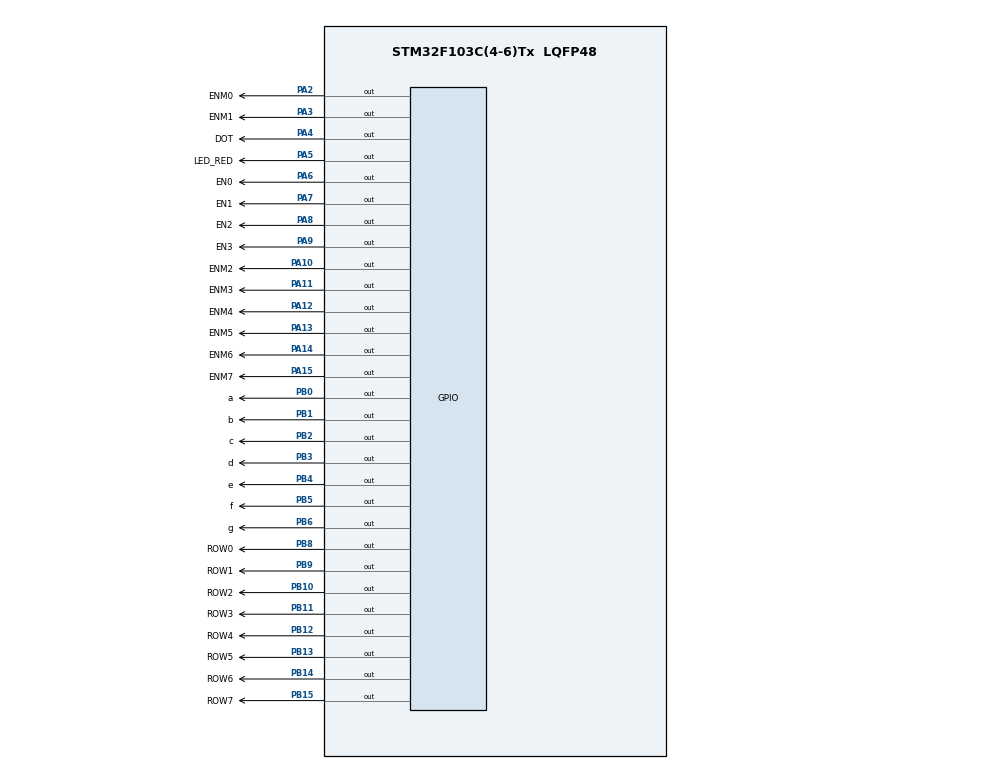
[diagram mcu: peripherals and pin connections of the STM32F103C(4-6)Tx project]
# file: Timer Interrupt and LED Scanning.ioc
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Mcu.Family=STM32F1
Mcu.Name=STM32F103C(4-6)Tx
Mcu.Package=LQFP48
NVIC.PriorityGroup=NVIC_PRIORITYGROUP_4
NVIC.TIM2_IRQn=true\:0\:0\:false\:false\:true\:true\:true
PA10.GPIO_Label=ENM2
PA10.Signal=GPIO_Output
PA11.GPIO_Label=ENM3
PA11.Signal=GPIO_Output
PA12.GPIO_Label=ENM4
PA12.Signal=GPIO_Output
PA13.GPIO_Label=ENM5
PA13.Signal=GPIO_Output
PA14.GPIO_Label=ENM6
PA14.Signal=GPIO_Output
PA15.GPIO_Label=ENM7
PA15.Signal=GPIO_Output
PA2.GPIO_Label=ENM0
PA2.Signal=GPIO_Output
PA3.GPIO_Label=ENM1
PA3.Signal=GPIO_Output
PA4.GPIO_Label=DOT
PA4.Signal=GPIO_Output
PA5.GPIO_Label=LED_RED
PA5.Signal=GPIO_Output
PA6.GPIO_Label=EN0
PA6.Signal=GPIO_Output
PA7.GPIO_Label=EN1
PA7.Signal=GPIO_Output
PA8.GPIO_Label=EN2
PA8.Signal=GPIO_Output
PA9.GPIO_Label=EN3
PA9.Signal=GPIO_Output
PB0.GPIO_Label=a
PB0.Signal=GPIO_Output
PB1.GPIO_Label=b
PB1.Signal=GPIO_Output
PB10.GPIO_Label=ROW2
PB10.Signal=GPIO_Output
PB11.GPIO_Label=ROW3
PB11.Signal=GPIO_Output
PB12.GPIO_Label=ROW4
PB12.Signal=GPIO_Output
PB13.GPIO_Label=ROW5
PB13.Signal=GPIO_Output
PB14.GPIO_Label=ROW6
PB14.Signal=GPIO_Output
PB15.GPIO_Label=ROW7
PB15.Signal=GPIO_Output
PB2.GPIO_Label=c
PB2.Signal=GPIO_Output
PB3.GPIO_Label=d
PB3.Signal=GPIO_Output
PB4.GPIO_Label=e
PB4.Signal=GPIO_Output
PB5.GPIO_Label=f
PB5.Signal=GPIO_Output
PB6.GPIO_Label=g
PB6.Signal=GPIO_Output
PB8.GPIO_Label=ROW0
PB8.Signal=GPIO_Output
PB9.GPIO_Label=ROW1
PB9.Signal=GPIO_Output
ProjectManager.HeapSize=0x200
ProjectManager.StackSize=0x400
ProjectManager.TargetToolchain=STM32CubeIDE
RCC.APB1Freq_Value=8000000
RCC.APB2Freq_Value=8000000
TIM2.Period=9
TIM2.Prescaler=7999
VP_SYS_VS_ND.Mode=No_Debug
VP_TIM2_VS_ClockSourceINT.Mode=Internal
board=custom

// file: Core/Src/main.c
/* USER CODE BEGIN Header */
/**
  ******************************************************************************
  * @file           : main.c
  * @brief          : Main program body
  ******************************************************************************
  * @attention
  *
  * <h2><center>&copy; Copyright (c) 2023 STMicroelectronics.
  * All rights reserved.</center></h2>
  *
  * This software component is licensed by ST under BSD 3-Clause license,
  * the "License"; You may not use this file except in compliance with the
  * License. You may obtain a copy of the License at:
  *                        opensource.org/licenses/BSD-3-Clause
  *
  ******************************************************************************
  */
/* USER CODE END Header */
#include "main.h"

/* USER CODE BEGIN Includes */
#include "software_timer.h"
/* USER CODE END Includes */

TIM_HandleTypeDef htim2;

void SystemClock_Config(void);
static void MX_GPIO_Init(void);
static void MX_TIM2_Init(void);

/* USER CODE BEGIN 0 */

int led_buffer[4] = {1, 2, 3, 4};
int hour = 15, minute = 8, second = 50;
const int MAX_LED = 4;
int index_led = 0;

void display7SEG(int num) {
	HAL_GPIO_WritePin(a_GPIO_Port, a_Pin, GPIO_PIN_SET);
	HAL_GPIO_WritePin(b_GPIO_Port, b_Pin, GPIO_PIN_SET);
	HAL_GPIO_WritePin(c_GPIO_Port, c_Pin, GPIO_PIN_SET);
	HAL_GPIO_WritePin(d_GPIO_Port, d_Pin, GPIO_PIN_SET);
	HAL_GPIO_WritePin(e_GPIO_Port, e_Pin, GPIO_PIN_SET);
	HAL_GPIO_WritePin(f_GPIO_Port, f_Pin, GPIO_PIN_SET);
	HAL_GPIO_WritePin(g_GPIO_Port, g_Pin, GPIO_PIN_SET);

	switch(num) {
		case 0:
		HAL_GPIO_WritePin(a_GPIO_Port, a_Pin, GPIO_PIN_RESET);
		HAL_GPIO_WritePin(b_GPIO_Port, b_Pin, GPIO_PIN_RESET);
		HAL_GPIO_WritePin(c_GPIO_Port, c_Pin, GPIO_PIN_RESET);
		HAL_GPIO_WritePin(d_GPIO_Port, d_Pin, GPIO_PIN_RESET);
		HAL_GPIO_WritePin(e_GPIO_Port, e_Pin, GPIO_PIN_RESET);
		HAL_GPIO_WritePin(f_GPIO_Port, f_Pin, GPIO_PIN_RESET);
		HAL_GPIO_WritePin(g_GPIO_Port, g_Pin, GPIO_PIN_SET);
		break;
		case 1:
		HAL_GPIO_WritePin(a_GPIO_Port, a_Pin, GPIO_PIN_SET);
		HAL_GPIO_WritePin(b_GPIO_Port, b_Pin, GPIO_PIN_RESET);
		HAL_GPIO_WritePin(c_GPIO_Port, c_Pin, GPIO_PIN_RESET);
		HAL_GPIO_WritePin(d_GPIO_Port, d_Pin, GPIO_PIN_SET);
		HAL_GPIO_WritePin(e_GPIO_Port, e_Pin, GPIO_PIN_SET);
		HAL_GPIO_WritePin(f_GPIO_Port, f_Pin, GPIO_PIN_SET);
		HAL_GPIO_WritePin(g_GPIO_Port, g_Pin, GPIO_PIN_SET);
		// (Add the rest of the pins needed to display '1')
		break;
		case 2:
		HAL_GPIO_WritePin(a_GPIO_Port, a_Pin, GPIO_PIN_RESET);
		HAL_GPIO_WritePin(b_GPIO_Port, b_Pin, GPIO_PIN_RESET);
		HAL_GPIO_WritePin(c_GPIO_Port, c_Pin, GPIO_PIN_SET);
		HAL_GPIO_WritePin(d_GPIO_Port, d_Pin, GPIO_PIN_RESET);
		HAL_GPIO_WritePin(e_GPIO_Port, e_Pin, GPIO_PIN_RESET);
		HAL_GPIO_WritePin(f_GPIO_Port, f_Pin, GPIO_PIN_SET);
		HAL_GPIO_WritePin(g_GPIO_Port, g_Pin, GPIO_PIN_RESET);
		break;
		case 3:
		HAL_GPIO_WritePin(a_GPIO_Port, a_Pin, GPIO_PIN_RESET);
		HAL_GPIO_WritePin(b_GPIO_Port, b_Pin, GPIO_PIN_RESET);
		HAL_GPIO_WritePin(c_GPIO_Port, c_Pin, GPIO_PIN_RESET);
		HAL_GPIO_WritePin(d_GPIO_Port, d_Pin, GPIO_PIN_RESET);
		HAL_GPIO_WritePin(e_GPIO_Port, e_Pin, GPIO_PIN_SET);
		HAL_GPIO_WritePin(f_GPIO_Port, f_Pin, GPIO_PIN_SET);
		HAL_GPIO_WritePin(g_GPIO_Port, g_Pin, GPIO_PIN_RESET);
		break;
		case 4:
		HAL_GPIO_WritePin(a_GPIO_Port, a_Pin, GPIO_PIN_SET);
		HAL_GPIO_WritePin(b_GPIO_Port, b_Pin, GPIO_PIN_RESET);
		HAL_GPIO_WritePin(c_GPIO_Port, c_Pin, GPIO_PIN_RESET);
		HAL_GPIO_WritePin(d_GPIO_Port, d_Pin, GPIO_PIN_SET);
		HAL_GPIO_WritePin(e_GPIO_Port, e_Pin, GPIO_PIN_SET);
		HAL_GPIO_WritePin(f_GPIO_Port, f_Pin, GPIO_PIN_RESET);
		HAL_GPIO_WritePin(g_GPIO_Port, g_Pin, GPIO_PIN_RESET);
		break;
		case 5:
		HAL_GPIO_WritePin(a_GPIO_Port, a_Pin, GPIO_PIN_RESET);
		HAL_GPIO_WritePin(b_GPIO_Port, b_Pin, GPIO_PIN_SET);
		HAL_GPIO_WritePin(c_GPIO_Port, c_Pin, GPIO_PIN_RESET);
		HAL_GPIO_WritePin(d_GPIO_Port, d_Pin, GPIO_PIN_RESET);
		HAL_GPIO_WritePin(e_GPIO_Port, e_Pin, GPIO_PIN_SET);
		HAL_GPIO_WritePin(f_GPIO_Port, f_Pin, GPIO_PIN_RESET);
		HAL_GPIO_WritePin(g_GPIO_Port, g_Pin, GPIO_PIN_RESET);
		break;
		case 6:
		HAL_GPIO_WritePin(a_GPIO_Port, a_Pin, GPIO_PIN_RESET);
		HAL_GPIO_WritePin(b_GPIO_Port, b_Pin, GPIO_PIN_SET);
		HAL_GPIO_WritePin(c_GPIO_Port, c_Pin, GPIO_PIN_RESET);
		HAL_GPIO_WritePin(d_GPIO_Port, d_Pin, GPIO_PIN_RESET);
		HAL_GPIO_WritePin(e_GPIO_Port, e_Pin, GPIO_PIN_RESET);
		HAL_GPIO_WritePin(f_GPIO_Port, f_Pin, GPIO_PIN_RESET);
		HAL_GPIO_WritePin(g_GPIO_Port, g_Pin, GPIO_PIN_RESET);
		break;
		case 7:
		HAL_GPIO_WritePin(a_GPIO_Port, a_Pin, GPIO_PIN_RESET);
		HAL_GPIO_WritePin(b_GPIO_Port, b_Pin, GPIO_PIN_RESET);
		HAL_GPIO_WritePin(c_GPIO_Port, c_Pin, GPIO_PIN_RESET);
		HAL_GPIO_WritePin(d_GPIO_Port, d_Pin, GPIO_PIN_SET);
		HAL_GPIO_WritePin(e_GPIO_Port, e_Pin, GPIO_PIN_SET);
		HAL_GPIO_WritePin(f_GPIO_Port, f_Pin, GPIO_PIN_SET);
		HAL_GPIO_WritePin(g_GPIO_Port, g_Pin, GPIO_PIN_SET);
		break;
		case 8:
		HAL_GPIO_WritePin(a_GPIO_Port, a_Pin, GPIO_PIN_RESET);
		HAL_GPIO_WritePin(b_GPIO_Port, b_Pin, GPIO_PIN_RESET);
		HAL_GPIO_WritePin(c_GPIO_Port, c_Pin, GPIO_PIN_RESET);
		HAL_GPIO_WritePin(d_GPIO_Port, d_Pin, GPIO_PIN_RESET);
		HAL_GPIO_WritePin(e_GPIO_Port, e_Pin, GPIO_PIN_RESET);
		HAL_GPIO_WritePin(f_GPIO_Port, f_Pin, GPIO_PIN_RESET);
		HAL_GPIO_WritePin(g_GPIO_Port, g_Pin, GPIO_PIN_RESET);
		break;
		case 9:
		HAL_GPIO_WritePin(a_GPIO_Port, a_Pin, GPIO_PIN_RESET);
		HAL_GPIO_WritePin(b_GPIO_Port, b_Pin, GPIO_PIN_RESET);
		HAL_GPIO_WritePin(c_GPIO_Port, c_Pin, GPIO_PIN_RESET);
		HAL_GPIO_WritePin(d_GPIO_Port, d_Pin, GPIO_PIN_RESET);
		HAL_GPIO_WritePin(e_GPIO_Port, e_Pin, GPIO_PIN_SET);
		HAL_GPIO_WritePin(f_GPIO_Port, f_Pin, GPIO_PIN_RESET);
		HAL_GPIO_WritePin(g_GPIO_Port, g_Pin, GPIO_PIN_RESET);
		break;
		default:
		// Handle invalid input by possibly clearing all segments or displaying a predefined error state
		break;
	}
	return;
}
void update7SEG(int index){
	if(index_led>MAX_LED) index_led = (index_led + 1) % MAX_LED;
    switch (index){
        case 0:
            //Display the first 7SEG with led_buffer[0]
    		HAL_GPIO_WritePin(EN0_GPIO_Port, EN0_Pin, GPIO_PIN_RESET);
    		HAL_GPIO_WritePin(EN1_GPIO_Port, EN1_Pin, GPIO_PIN_SET);
    		HAL_GPIO_WritePin(EN2_GPIO_Port, EN2_Pin, GPIO_PIN_SET);
    		HAL_GPIO_WritePin(EN3_GPIO_Port, EN3_Pin, GPIO_PIN_SET);
        	display7SEG(led_buffer[0]);
            break;
        case 1:
            //Display the second 7SEG with led_buffer[1]
    		HAL_GPIO_WritePin(EN0_GPIO_Port, EN0_Pin, GPIO_PIN_SET);
    		HAL_GPIO_WritePin(EN1_GPIO_Port, EN1_Pin, GPIO_PIN_RESET);
    		HAL_GPIO_WritePin(EN2_GPIO_Port, EN2_Pin, GPIO_PIN_SET);
    		HAL_GPIO_WritePin(EN3_GPIO_Port, EN3_Pin, GPIO_PIN_SET);
        	display7SEG(led_buffer[1]);
            break;
        case 2:
            //Display the third 7SEG with led_buffer[2]
    		HAL_GPIO_WritePin(EN0_GPIO_Port, EN0_Pin, GPIO_PIN_SET);
    		HAL_GPIO_WritePin(EN1_GPIO_Port, EN1_Pin, GPIO_PIN_SET);
    		HAL_GPIO_WritePin(EN2_GPIO_Port, EN2_Pin, GPIO_PIN_RESET);
    		HAL_GPIO_WritePin(EN3_GPIO_Port, EN3_Pin, GPIO_PIN_SET);
        	display7SEG(led_buffer[2]);
        	break;
        case 3:
        	display7SEG(led_buffer[3]);
            //Display the forth 7SEG with led_buffer[3]
    		HAL_GPIO_WritePin(EN0_GPIO_Port, EN0_Pin, GPIO_PIN_SET);
    		HAL_GPIO_WritePin(EN1_GPIO_Port, EN1_Pin, GPIO_PIN_SET);
    		HAL_GPIO_WritePin(EN2_GPIO_Port, EN2_Pin, GPIO_PIN_SET);
    		HAL_GPIO_WritePin(EN3_GPIO_Port, EN3_Pin, GPIO_PIN_RESET);
            break;
        default:
            break;
    }
    return;
}

void updateClockBuffer(int hour, int minute, int second){
//    led_buffer[0] = hour/10;
//    led_buffer[1] = hour%10;
//    led_buffer[2] = minute/10;
//    led_buffer[3] = minute%10;
    led_buffer[0] = minute/10;
    led_buffer[1] = minute%10;
    led_buffer[2] = second/10;
    led_buffer[3] = second%10;
}

const int MAX_LED_MATRIX = 8;
int index_led_matrix = 0;
uint8_t matrix_buffer[8] = {0x01, 0x02, 0x03, 0x04, 0x05, 0x06, 0x07, 0x08};
void displayLEDMatrix(uint8_t value) {
	switch(value) {
	case 0x00:
		HAL_GPIO_WritePin(ROW0_GPIO_Port, ROW0_Pin, SET);
		HAL_GPIO_WritePin(ROW1_GPIO_Port, ROW1_Pin, SET);
		HAL_GPIO_WritePin(ROW2_GPIO_Port, ROW2_Pin, SET);
		HAL_GPIO_WritePin(ROW3_GPIO_Port, ROW3_Pin, SET);
		HAL_GPIO_WritePin(ROW4_GPIO_Port, ROW4_Pin, SET);
		HAL_GPIO_WritePin(ROW5_GPIO_Port, ROW5_Pin, SET);
		HAL_GPIO_WritePin(ROW6_GPIO_Port, ROW6_Pin, SET);
		HAL_GPIO_WritePin(ROW7_GPIO_Port, ROW7_Pin, SET);
		break;
	case 0xc0:
		HAL_GPIO_WritePin(ROW0_GPIO_Port, ROW0_Pin, SET);
		HAL_GPIO_WritePin(ROW1_GPIO_Port, ROW1_Pin, SET);
		HAL_GPIO_WritePin(ROW2_GPIO_Port, ROW2_Pin, RESET);
		HAL_GPIO_WritePin(ROW3_GPIO_Port, ROW3_Pin, RESET);
		HAL_GPIO_WritePin(ROW4_GPIO_Port, ROW4_Pin, RESET);
		HAL_GPIO_WritePin(ROW5_GPIO_Port, ROW5_Pin, RESET);
		HAL_GPIO_WritePin(ROW6_GPIO_Port, ROW6_Pin, RESET);
		HAL_GPIO_WritePin(ROW7_GPIO_Port, ROW7_Pin, RESET);
		break;
	case 0x80:
		HAL_GPIO_WritePin(ROW0_GPIO_Port, ROW0_Pin, SET);
		HAL_GPIO_WritePin(ROW1_GPIO_Port, ROW1_Pin, RESET);
		HAL_GPIO_WritePin(ROW2_GPIO_Port, ROW2_Pin, RESET);
		HAL_GPIO_WritePin(ROW3_GPIO_Port, ROW3_Pin, RESET);
		HAL_GPIO_WritePin(ROW4_GPIO_Port, ROW4_Pin, RESET);
		HAL_GPIO_WritePin(ROW5_GPIO_Port, ROW5_Pin, RESET);
		HAL_GPIO_WritePin(ROW6_GPIO_Port, ROW6_Pin, RESET);
		HAL_GPIO_WritePin(ROW7_GPIO_Port, ROW7_Pin, RESET);
		break;
	case 0x33:
		HAL_GPIO_WritePin(ROW0_GPIO_Port, ROW0_Pin, RESET);
		HAL_GPIO_WritePin(ROW1_GPIO_Port, ROW1_Pin, RESET);
		HAL_GPIO_WritePin(ROW2_GPIO_Port, ROW2_Pin, SET);
		HAL_GPIO_WritePin(ROW3_GPIO_Port, ROW3_Pin, SET);
		HAL_GPIO_WritePin(ROW4_GPIO_Port, ROW4_Pin, RESET);
		HAL_GPIO_WritePin(ROW5_GPIO_Port, ROW5_Pin, RESET);
		HAL_GPIO_WritePin(ROW6_GPIO_Port, ROW6_Pin, SET);
		HAL_GPIO_WritePin(ROW7_GPIO_Port, ROW7_Pin, SET);
		break;
	default:
		HAL_GPIO_WritePin(ROW0_GPIO_Port, ROW0_Pin, SET);
		HAL_GPIO_WritePin(ROW1_GPIO_Port, ROW1_Pin, SET);
		HAL_GPIO_WritePin(ROW2_GPIO_Port, ROW2_Pin, SET);
		HAL_GPIO_WritePin(ROW3_GPIO_Port, ROW3_Pin, SET);
		HAL_GPIO_WritePin(ROW4_GPIO_Port, ROW4_Pin, SET);
		HAL_GPIO_WritePin(ROW5_GPIO_Port, ROW5_Pin, SET);
		HAL_GPIO_WritePin(ROW6_GPIO_Port, ROW6_Pin, SET);
		HAL_GPIO_WritePin(ROW7_GPIO_Port, ROW7_Pin, SET);
		break;
	}
}
void updateLEDMatrix(int index) {
	switch(index) {
		case 0:
			HAL_GPIO_WritePin(ENM0_GPIO_Port, ENM0_Pin, RESET);
			HAL_GPIO_WritePin(ENM1_GPIO_Port, ENM1_Pin, SET);
			HAL_GPIO_WritePin(ENM2_GPIO_Port, ENM2_Pin, SET);
			HAL_GPIO_WritePin(ENM3_GPIO_Port, ENM3_Pin, SET);
			HAL_GPIO_WritePin(ENM4_GPIO_Port, ENM4_Pin, SET);
			HAL_GPIO_WritePin(ENM5_GPIO_Port, ENM5_Pin, SET);
			HAL_GPIO_WritePin(ENM6_GPIO_Port, ENM6_Pin, SET);
			HAL_GPIO_WritePin(ENM7_GPIO_Port, ENM7_Pin, SET);

			break;
		case 1:
			HAL_GPIO_WritePin(ENM0_GPIO_Port, ENM0_Pin, SET);
			HAL_GPIO_WritePin(ENM1_GPIO_Port, ENM1_Pin, RESET);
			HAL_GPIO_WritePin(ENM2_GPIO_Port, ENM2_Pin, SET);
			HAL_GPIO_WritePin(ENM3_GPIO_Port, ENM3_Pin, SET);
			HAL_GPIO_WritePin(ENM4_GPIO_Port, ENM4_Pin, SET);
			HAL_GPIO_WritePin(ENM5_GPIO_Port, ENM5_Pin, SET);
			HAL_GPIO_WritePin(ENM6_GPIO_Port, ENM6_Pin, SET);
			HAL_GPIO_WritePin(ENM7_GPIO_Port, ENM7_Pin, SET);

			break;
		case 2:
			HAL_GPIO_WritePin(ENM0_GPIO_Port, ENM0_Pin, SET);
			HAL_GPIO_WritePin(ENM1_GPIO_Port, ENM1_Pin, SET);
			HAL_GPIO_WritePin(ENM2_GPIO_Port, ENM2_Pin, RESET);
			HAL_GPIO_WritePin(ENM3_GPIO_Port, ENM3_Pin, SET);
			HAL_GPIO_WritePin(ENM4_GPIO_Port, ENM4_Pin, SET);
			HAL_GPIO_WritePin(ENM5_GPIO_Port, ENM5_Pin, SET);
			HAL_GPIO_WritePin(ENM6_GPIO_Port, ENM6_Pin, SET);
			HAL_GPIO_WritePin(ENM7_GPIO_Port, ENM7_Pin, SET);
			break;
		case 3:
			HAL_GPIO_WritePin(ENM0_GPIO_Port, ENM0_Pin, SET);
			HAL_GPIO_WritePin(ENM1_GPIO_Port, ENM1_Pin, SET);
			HAL_GPIO_WritePin(ENM2_GPIO_Port, ENM2_Pin, SET);
			HAL_GPIO_WritePin(ENM3_GPIO_Port, ENM3_Pin, RESET);
			HAL_GPIO_WritePin(ENM4_GPIO_Port, ENM4_Pin, SET);
			HAL_GPIO_WritePin(ENM5_GPIO_Port, ENM5_Pin, SET);
			HAL_GPIO_WritePin(ENM6_GPIO_Port, ENM6_Pin, SET);
			HAL_GPIO_WritePin(ENM7_GPIO_Port, ENM7_Pin, SET);
			break;
		case 4:
			HAL_GPIO_WritePin(ENM0_GPIO_Port, ENM0_Pin, SET);
			HAL_GPIO_WritePin(ENM1_GPIO_Port, ENM1_Pin, SET);
			HAL_GPIO_WritePin(ENM2_GPIO_Port, ENM2_Pin, SET);
			HAL_GPIO_WritePin(ENM3_GPIO_Port, ENM3_Pin, SET);
			HAL_GPIO_WritePin(ENM4_GPIO_Port, ENM4_Pin, RESET);
			HAL_GPIO_WritePin(ENM5_GPIO_Port, ENM5_Pin, SET);
			HAL_GPIO_WritePin(ENM6_GPIO_Port, ENM6_Pin, SET);
			HAL_GPIO_WritePin(ENM7_GPIO_Port, ENM7_Pin, SET);
			break;
		case 5:
			HAL_GPIO_WritePin(ENM0_GPIO_Port, ENM0_Pin, SET);
			HAL_GPIO_WritePin(ENM1_GPIO_Port, ENM1_Pin, SET);
			HAL_GPIO_WritePin(ENM2_GPIO_Port, ENM2_Pin, SET);
			HAL_GPIO_WritePin(ENM3_GPIO_Port, ENM3_Pin, SET);
			HAL_GPIO_WritePin(ENM4_GPIO_Port, ENM4_Pin, SET);
			HAL_GPIO_WritePin(ENM5_GPIO_Port, ENM5_Pin, RESET);
			HAL_GPIO_WritePin(ENM6_GPIO_Port, ENM6_Pin, SET);
			HAL_GPIO_WritePin(ENM7_GPIO_Port, ENM7_Pin, SET);
			break;
		case 6:
			HAL_GPIO_WritePin(ENM0_GPIO_Port, ENM0_Pin, SET);
			HAL_GPIO_WritePin(ENM1_GPIO_Port, ENM1_Pin, SET);
			HAL_GPIO_WritePin(ENM2_GPIO_Port, ENM2_Pin, SET);
			HAL_GPIO_WritePin(ENM3_GPIO_Port, ENM3_Pin, SET);
			HAL_GPIO_WritePin(ENM4_GPIO_Port, ENM4_Pin, SET);
			HAL_GPIO_WritePin(ENM5_GPIO_Port, ENM5_Pin, SET);
			HAL_GPIO_WritePin(ENM6_GPIO_Port, ENM6_Pin, RESET);
			HAL_GPIO_WritePin(ENM7_GPIO_Port, ENM7_Pin, SET);
			break;
		case 7:
			HAL_GPIO_WritePin(ENM0_GPIO_Port, ENM0_Pin, SET);
			HAL_GPIO_WritePin(ENM1_GPIO_Port, ENM1_Pin, SET);
			HAL_GPIO_WritePin(ENM2_GPIO_Port, ENM2_Pin, SET);
			HAL_GPIO_WritePin(ENM3_GPIO_Port, ENM3_Pin, SET);
			HAL_GPIO_WritePin(ENM4_GPIO_Port, ENM4_Pin, SET);
			HAL_GPIO_WritePin(ENM5_GPIO_Port, ENM5_Pin, SET);
			HAL_GPIO_WritePin(ENM6_GPIO_Port, ENM6_Pin, SET);
			HAL_GPIO_WritePin(ENM7_GPIO_Port, ENM7_Pin, RESET);
			break;
		default:
			HAL_GPIO_WritePin(ENM0_GPIO_Port, ENM0_Pin, SET);
			HAL_GPIO_WritePin(ENM1_GPIO_Port, ENM1_Pin, SET);
			HAL_GPIO_WritePin(ENM2_GPIO_Port, ENM2_Pin, SET);
			HAL_GPIO_WritePin(ENM3_GPIO_Port, ENM3_Pin, SET);
			HAL_GPIO_WritePin(ENM4_GPIO_Port, ENM4_Pin, SET);
			HAL_GPIO_WritePin(ENM5_GPIO_Port, ENM5_Pin, SET);
			HAL_GPIO_WritePin(ENM6_GPIO_Port, ENM6_Pin, SET);
			HAL_GPIO_WritePin(ENM7_GPIO_Port, ENM7_Pin, SET);
			break;
	}
	displayLEDMatrix(matrix_buffer[index]);
}
void updateMatrix_Buffer(){

	uint8_t temp  = matrix_buffer[0];
	for (int i = 0; i<7;i++){
		matrix_buffer[i] = matrix_buffer[i+1];
	}
	matrix_buffer[7] = temp;
}

/* USER CODE END 0 */

int main(void)
{

  /* MCU Configuration--------------------------------------------------------*/

  /* Reset of all peripherals, Initializes the Flash interface and the Systick. */
  HAL_Init();

  /* Configure the system clock */
  SystemClock_Config();

  /* Initialize all configured peripherals */
  MX_GPIO_Init();
  MX_TIM2_Init();
  /* USER CODE BEGIN 2 */
  HAL_TIM_Base_Start_IT(&htim2);
  /* USER CODE END 2 */

  /* Infinite loop */
  /* USER CODE BEGIN WHILE */
  int index_led = 0 ;
  int matrix_led = 0;
  setTimer0(100);
  setTimer1(100);
  setTimer2(100);
  setTimer3(100);	// update the display matrix led
  setTimer4(100);	// for the buffer_matrix update
  /*
   * A:
   * 0 0 0 1 1 0 0 0
   * 0 0 1 1 1 1 0 0
   * 0 1 1 0 0 1 1 0
   * 0 1 1 0 0 1 1 0
   * 0 1 1 1 1 1 1 0
   * 0 1 1 1 1 1 1 0
   * 0 1 1 0 0 1 1 0
   * 0 1 1 0 0 1 1 0
   */
  matrix_buffer[0] = 0x00;
  matrix_buffer[1] = 0xc0;
  matrix_buffer[2] = 0x80;
  matrix_buffer[3] = 0x33;
  matrix_buffer[4] = 0x33;
  matrix_buffer[5] = 0x80;
  matrix_buffer[6] = 0xc0;
  matrix_buffer[7] = 0x00;

  while (1)
  {
		if ( timer0_flag == 1) {
			HAL_GPIO_TogglePin ( LED_RED_GPIO_Port, LED_RED_Pin ) ;
			setTimer0 (1000) ;
			second++;
			if (second >= 60) {
				second = 0;
				minute++;
			}

			if (minute >= 60) {
				minute = 0;
				hour++;
			}

			if (hour >= 24) {
				hour = 0;
			}
			updateClockBuffer(hour,minute,second);

		}

		if ( timer1_flag == 1) {
			update7SEG(index_led++);
			if (index_led >= 4) index_led = 0;
			setTimer1(250);
		}

    /* USER CODE END WHILE */

  }
}

void SystemClock_Config(void)
{
  RCC_OscInitTypeDef RCC_OscInitStruct = {0};
  RCC_ClkInitTypeDef RCC_ClkInitStruct = {0};

  /** Initializes the RCC Oscillators according to the specified parameters
  * in the RCC_OscInitTypeDef structure.
  */
  RCC_OscInitStruct.OscillatorType = RCC_OSCILLATORTYPE_HSI;
  RCC_OscInitStruct.HSIState = RCC_HSI_ON;
  RCC_OscInitStruct.HSICalibrationValue = RCC_HSICALIBRATION_DEFAULT;
  RCC_OscInitStruct.PLL.PLLState = RCC_PLL_NONE;
  if (HAL_RCC_OscConfig(&RCC_OscInitStruct) != HAL_OK)
  {
    Error_Handler();
  }
  /** Initializes the CPU, AHB and APB buses clocks
  */
  RCC_ClkInitStruct.ClockType = RCC_CLOCKTYPE_HCLK|RCC_CLOCKTYPE_SYSCLK
                              |RCC_CLOCKTYPE_PCLK1|RCC_CLOCKTYPE_PCLK2;
  RCC_ClkInitStruct.SYSCLKSource = RCC_SYSCLKSOURCE_HSI;
  RCC_ClkInitStruct.AHBCLKDivider = RCC_SYSCLK_DIV1;
  RCC_ClkInitStruct.APB1CLKDivider = RCC_HCLK_DIV1;
  RCC_ClkInitStruct.APB2CLKDivider = RCC_HCLK_DIV1;

  if (HAL_RCC_ClockConfig(&RCC_ClkInitStruct, FLASH_LATENCY_0) != HAL_OK)
  {
    Error_Handler();
  }
}

static void MX_TIM2_Init(void)
{

  TIM_ClockConfigTypeDef sClockSourceConfig = {0};
  TIM_MasterConfigTypeDef sMasterConfig = {0};

  htim2.Instance = TIM2;
  htim2.Init.Prescaler = 7999;
  htim2.Init.CounterMode = TIM_COUNTERMODE_UP;
  htim2.Init.Period = 9;
  htim2.Init.ClockDivision = TIM_CLOCKDIVISION_DIV1;
  htim2.Init.AutoReloadPreload = TIM_AUTORELOAD_PRELOAD_DISABLE;
  if (HAL_TIM_Base_Init(&htim2) != HAL_OK)
  {
    Error_Handler();
  }
  sClockSourceConfig.ClockSource = TIM_CLOCKSOURCE_INTERNAL;
  if (HAL_TIM_ConfigClockSource(&htim2, &sClockSourceConfig) != HAL_OK)
  {
    Error_Handler();
  }
  sMasterConfig.MasterOutputTrigger = TIM_TRGO_RESET;
  sMasterConfig.MasterSlaveMode = TIM_MASTERSLAVEMODE_DISABLE;
  if (HAL_TIMEx_MasterConfigSynchronization(&htim2, &sMasterConfig) != HAL_OK)
  {
    Error_Handler();
  }

}

static void MX_GPIO_Init(void)
{
  GPIO_InitTypeDef GPIO_InitStruct = {0};

  /* GPIO Ports Clock Enable */
  __HAL_RCC_GPIOA_CLK_ENABLE();
  __HAL_RCC_GPIOB_CLK_ENABLE();

  /*Configure GPIO pin Output Level */
  HAL_GPIO_WritePin(GPIOA, ENM0_Pin|ENM1_Pin|DOT_Pin|LED_RED_Pin
                          |EN0_Pin|EN1_Pin|EN2_Pin|EN3_Pin
                          |ENM2_Pin|ENM3_Pin|ENM4_Pin|ENM5_Pin
                          |ENM6_Pin|ENM7_Pin, GPIO_PIN_RESET);

  /*Configure GPIO pin Output Level */
  HAL_GPIO_WritePin(GPIOB, a_Pin|b_Pin|c_Pin|ROW2_Pin
                          |ROW3_Pin|ROW4_Pin|ROW5_Pin|ROW6_Pin
                          |ROW7_Pin|d_Pin|e_Pin|f_Pin
                          |g_Pin|ROW0_Pin|ROW1_Pin, GPIO_PIN_RESET);

  /*Configure GPIO pins : ENM0_Pin ENM1_Pin DOT_Pin LED_RED_Pin
                           EN0_Pin EN1_Pin EN2_Pin EN3_Pin
                           ENM2_Pin ENM3_Pin ENM4_Pin ENM5_Pin
                           ENM6_Pin ENM7_Pin */
  GPIO_InitStruct.Pin = ENM0_Pin|ENM1_Pin|DOT_Pin|LED_RED_Pin
                          |EN0_Pin|EN1_Pin|EN2_Pin|EN3_Pin
                          |ENM2_Pin|ENM3_Pin|ENM4_Pin|ENM5_Pin
                          |ENM6_Pin|ENM7_Pin;
  GPIO_InitStruct.Mode = GPIO_MODE_OUTPUT_PP;
  GPIO_InitStruct.Pull = GPIO_NOPULL;
  GPIO_InitStruct.Speed = GPIO_SPEED_FREQ_LOW;
  HAL_GPIO_Init(GPIOA, &GPIO_InitStruct);

  /*Configure GPIO pins : a_Pin b_Pin c_Pin ROW2_Pin
                           ROW3_Pin ROW4_Pin ROW5_Pin ROW6_Pin
                           ROW7_Pin d_Pin e_Pin f_Pin
                           g_Pin ROW0_Pin ROW1_Pin */
  GPIO_InitStruct.Pin = a_Pin|b_Pin|c_Pin|ROW2_Pin
                          |ROW3_Pin|ROW4_Pin|ROW5_Pin|ROW6_Pin
                          |ROW7_Pin|d_Pin|e_Pin|f_Pin
                          |g_Pin|ROW0_Pin|ROW1_Pin;
  GPIO_InitStruct.Mode = GPIO_MODE_OUTPUT_PP;
  GPIO_InitStruct.Pull = GPIO_NOPULL;
  GPIO_InitStruct.Speed = GPIO_SPEED_FREQ_LOW;
  HAL_GPIO_Init(GPIOB, &GPIO_InitStruct);

}

/* USER CODE BEGIN 4 */

void HAL_TIM_PeriodElapsedCallback(TIM_HandleTypeDef *htim){
	timer_run();

}

/* USER CODE END 4 */

void Error_Handler(void)
{
  __disable_irq();
  while (1)
  {
  }
}

/************************ (C) COPYRIGHT STMicroelectronics *****END OF FILE****/
